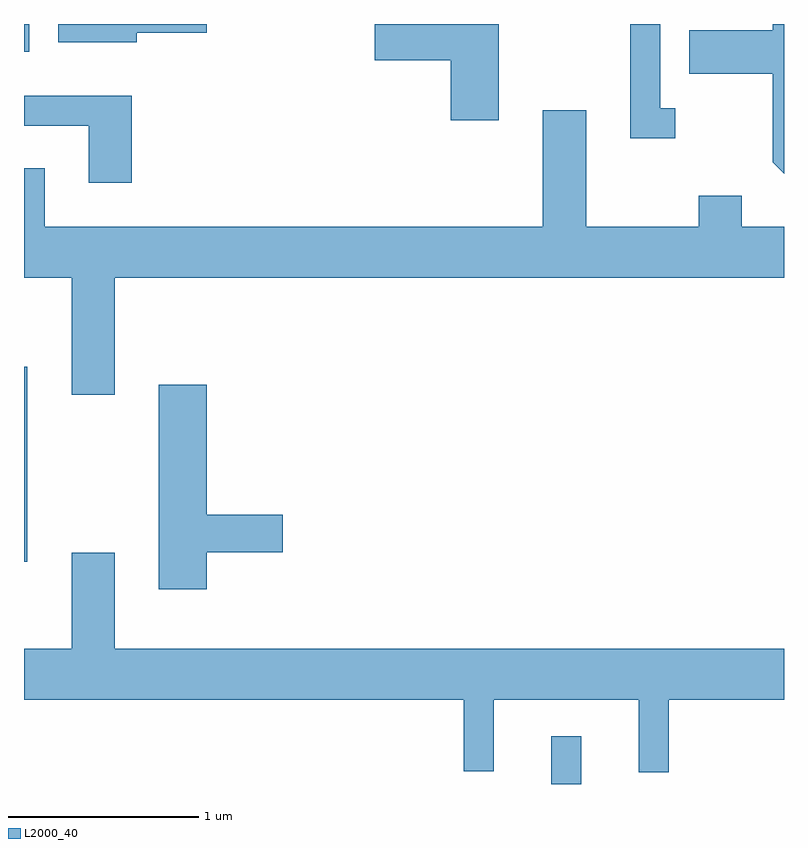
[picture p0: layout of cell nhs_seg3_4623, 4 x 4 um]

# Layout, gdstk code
import gdstk
lib = gdstk.Library(unit=1e-6, precision=1e-09)
def R(c, l, rs):  # rectangles x0, y0, x1, y1
    for r in rs: c.add(gdstk.rectangle(r[:2], r[2:], *l))
def P(c, l, *ps):  # polygons
    for p in ps: c.add(gdstk.Polygon(p, *l))
L2000_40 = (2000, 40)

nhs_seg3_4623 = lib.new_cell('nhs_seg3_4623')
R(nhs_seg3_4623, L2000_40, [(322.386,1249.892,322.544,1250.143), (319.611,1251.061,319.629,1252.089), (319.611,1253.746,319.639,1253.892)])
P(nhs_seg3_4623, L2000_40, [(323.038,1253.449),(322.959,1253.449),(322.959,1253.892),(322.801,1253.892),(322.801,1253.291),(323.038,1253.291)],
  [(323.611,1253.892),(323.551,1253.892),(323.551,1253.859),(323.111,1253.859),(323.111,1253.631),(323.551,1253.631),(323.551,1253.164),(323.611,1253.104)],
  [(322.109,1253.892),(321.456,1253.892),(321.456,1253.701),(321.856,1253.701),(321.856,1253.386),(322.109,1253.386)],
  [(320.204,1253.846),(320.574,1253.846),(320.574,1253.892),(319.791,1253.892),(319.791,1253.796),(320.204,1253.796)],
  [(320.179,1253.514),(319.611,1253.514),(319.611,1253.356),(319.951,1253.356),(319.951,1253.056),(320.179,1253.056)],
  [(320.089,1252.556),(323.611,1252.556),(323.611,1252.824),(323.389,1252.824),(323.389,1252.989),(323.161,1252.989),(323.161,1252.824),(322.569,1252.824),(322.569,1253.439),(322.341,1253.439),(322.341,1252.824),(319.719,1252.824),(319.719,1253.134),(319.611,1253.134),(319.611,1252.556),(319.861,1252.556),(319.861,1251.941),(320.089,1251.941)],
  [(320.574,1251.111),(320.974,1251.111),(320.974,1251.309),(320.574,1251.309),(320.574,1251.994),(320.321,1251.994),(320.321,1250.916),(320.574,1250.916)],
  [(323.004,1250.336),(323.611,1250.336),(323.611,1250.604),(320.089,1250.604),(320.089,1251.109),(319.861,1251.109),(319.861,1250.604),(319.611,1250.604),(319.611,1250.336),(321.926,1250.336),(321.926,1249.958),(322.084,1249.958),(322.084,1250.336),(322.846,1250.336),(322.846,1249.953),(323.004,1249.953)])

lib.write_gds('nhs_seg3_4623.gds')
